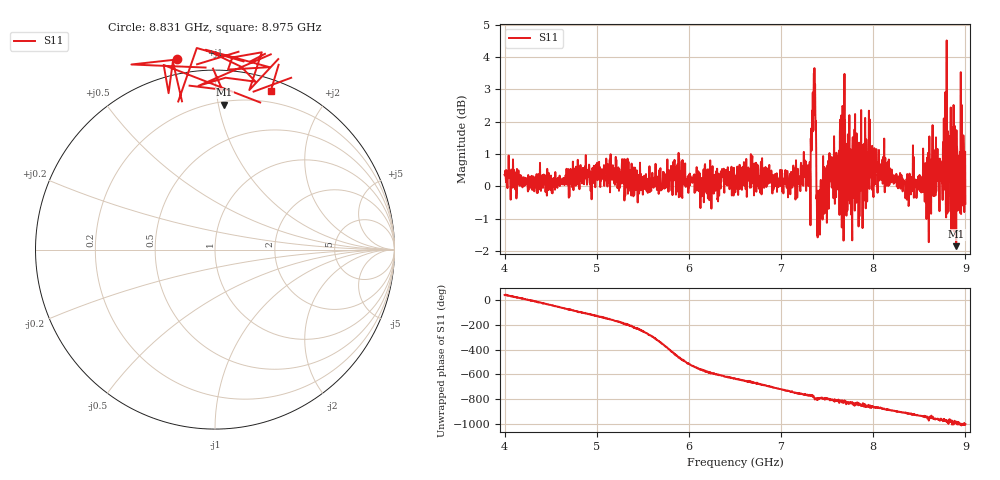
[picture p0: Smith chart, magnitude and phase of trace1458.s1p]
! Created with skrf 1.8.0 (http://scikit-rf.org).
# Hz S RI R 50.0
!freq ReS11 ImS11
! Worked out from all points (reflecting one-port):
!   1601 points, 4 GHz to 9 GHz, reference 50 ohm
!   lowest |S11| = -1.8 dB at 8.9 GHz (marker M1), VSWR 9.43, Z = 11.2 + j52.1 ohm
!   phase of S11 starts at 43 deg and turns -1046 deg over the sweep
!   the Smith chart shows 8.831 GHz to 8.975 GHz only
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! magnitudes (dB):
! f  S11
! 4 GHz  0.4
! 4.625 GHz  0.1
! 5.25 GHz  0.0
! 5.875 GHz  0.1
! 6.125 GHz  -0.7
! 6.5 GHz  0.2
! 7.125 GHz  0.2
! 7.294 GHz  0.3
! 7.353 GHz  2.9
! 7.409 GHz  -1.4
! 7.538 GHz  0.9
! 7.609 GHz  0.9
! 7.662 GHz  -0.1
! 7.697 GHz  0.0
! 7.75 GHz  -0.1
! 7.769 GHz  -0.9
! 7.8 GHz  -0.7
! 7.875 GHz  0.0
! 7.962 GHz  2.1
! 7.981 GHz  0.5
! 8.097 GHz  0.3
! 8.375 GHz  -0.2
! 8.728 GHz  0.8
! 8.784 GHz  2.9
! 8.841 GHz  2.4
! 8.9 GHz  -1.8
! 8.972 GHz  0.7
! 9 GHz  -0.5
